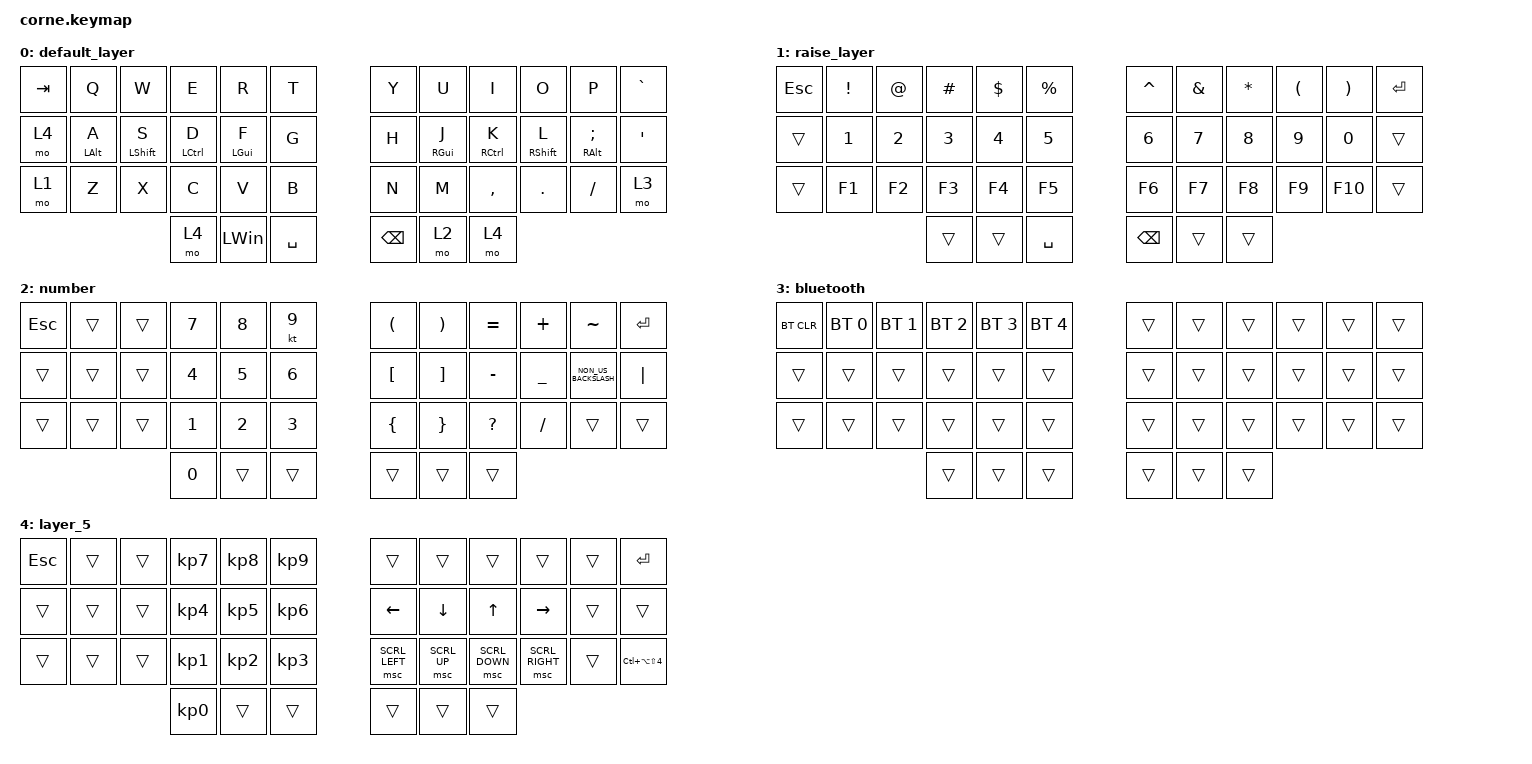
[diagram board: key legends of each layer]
/*
 * Copyright (c) 2020 The ZMK Contributors
 *
 * SPDX-License-Identifier: MIT
 */

#include <behaviors.dtsi>
#include <dt-bindings/zmk/bt.h>
#include <dt-bindings/zmk/keys.h>
#include <dt-bindings/zmk/pointing.h>

&mt {
    tapping-term-ms = <300>;
    flavor = "tap-preferred";
};

/ {
    keymap {
        compatible = "zmk,keymap";

        default_layer {
            // -----------------------------------------------------------------------------------------
            // |  TAB |  Q  |  W  |  E  |  R  |  T  |   |  Y  |  U   |  I  |  O  |  P  | BKSP |
            // | CTRL |  A  |  S  |  D  |  F  |  G  |   |  H  |  J   |  K  |  L  |  ;  |  '   |
            // | SHFT |  Z  |  X  |  C  |  V  |  B  |   |  N  |  M   |  ,  |  .  |  /  | ESC  |
            //                    | GUI | LWR | SPC |   | ENT | RSE  | ALT |

            bindings = <
&kp TAB  &kp Q           &kp W             &kp E               &kp R           &kp T        &kp Y          &kp U            &kp I                &kp O              &kp P                    &kp GRAVE
&mo 4    &mt LEFT_ALT A  &mt LEFT_SHIFT S  &mt LEFT_CONTROL D  &mt LEFT_GUI F  &kp G        &kp H          &mt RIGHT_GUI J  &mt RIGHT_CONTROL K  &mt RIGHT_SHIFT L  &mt RIGHT_ALT SEMICOLON  &kp SQT
&mo 1    &kp Z           &kp X             &kp C               &kp V           &kp B        &kp N          &kp M            &kp COMMA            &kp DOT            &kp FSLH                 &mo 3
                                           &mo 4               &kp LEFT_WIN    &kp SPACE    &kp BACKSPACE  &mo 2            &mo 4
            >;
        };

        raise_layer {
            // -----------------------------------------------------------------------------------------
            // |  TAB |  !  |  @  |  #  |  $  |  %  |   |  ^  |  &  |  *  |  (  |  )  | BKSP |
            // | CTRL |     |     |     |     |     |   |  -  |  =  |  [  |  ]  |  \  |  `   |
            // | SHFT |     |     |     |     |     |   |  _  |  +  |  {  |  }  | "|" |  ~   |
            //                    | GUI |     | SPC |   | ENT |     | ALT |

            bindings = <
&kp ESCAPE  &kp EXCLAMATION  &kp AT_SIGN   &kp HASH      &kp DOLLAR    &kp PERCENT    &kp CARET      &kp AMPERSAND  &kp ASTERISK  &kp LEFT_PARENTHESIS  &kp RIGHT_PARENTHESIS  &kp ENTER
&trans      &kp NUMBER_1     &kp NUMBER_2  &kp NUMBER_3  &kp NUMBER_4  &kp N5         &kp NUMBER_6   &kp N7         &kp N8        &kp N9                &kp N0                 &trans
&trans      &kp F1           &kp F2        &kp F3        &kp F4        &kp F5         &kp F6         &kp F7         &kp F8        &kp F9                &kp F10                &trans
                                           &trans        &trans        &kp SPACE      &kp BACKSPACE  &trans         &trans
            >;
        };

        number {
            bindings = <
&kp ESCAPE  &trans  &trans  &kp N7        &kp N8        &kt N9          &kp LEFT_PARENTHESIS  &kp RIGHT_PARENTHESIS  &kp EQUAL     &kp PLUS        &kp TILDE             &kp ENTER
&trans      &trans  &trans  &kp NUMBER_4  &kp N5        &kp NUMBER_6    &kp LEFT_BRACKET      &kp RIGHT_BRACKET      &kp MINUS     &kp UNDERSCORE  &kp NON_US_BACKSLASH  &kp PIPE
&trans      &trans  &trans  &kp NUMBER_1  &kp NUMBER_2  &kp NUMBER_3    &kp LEFT_BRACE        &kp RIGHT_BRACE        &kp QUESTION  &kp SLASH       &trans                &trans
                            &kp N0        &trans        &trans          &trans                &trans                 &trans
            >;
        };

        bluetooth {
            bindings = <
&bt BT_CLR  &bt BT_SEL 0  &bt BT_SEL 1  &bt BT_SEL 2  &bt BT_SEL 3  &bt BT_SEL 4    &trans  &trans  &trans  &trans  &trans  &trans
&trans      &trans        &trans        &trans        &trans        &trans          &trans  &trans  &trans  &trans  &trans  &trans
&trans      &trans        &trans        &trans        &trans        &trans          &trans  &trans  &trans  &trans  &trans  &trans
                                        &trans        &trans        &trans          &trans  &trans  &trans
            >;
        };

        layer_5 {
            bindings = <
&kp ESCAPE  &trans  &trans  &kp KP_NUMBER_7  &kp KP_NUMBER_8  &kp KP_NUMBER_9    &trans          &trans        &trans          &trans           &trans  &kp ENTER
&trans      &trans  &trans  &kp KP_NUMBER_4  &kp KP_NUMBER_5  &kp KP_NUMBER_6    &kp LEFT        &kp DOWN      &kp UP          &kp RIGHT        &trans  &trans
&trans      &trans  &trans  &kp KP_NUMBER_1  &kp KP_NUMBER_2  &kp KP_NUMBER_3    &msc SCRL_LEFT  &msc SCRL_UP  &msc SCRL_DOWN  &msc SCRL_RIGHT  &trans  &kp LC(LA(LS(NUMBER_4)))
                            &kp KP_NUMBER_0  &trans           &trans             &trans          &trans        &trans
            >;
        };
    };
};
